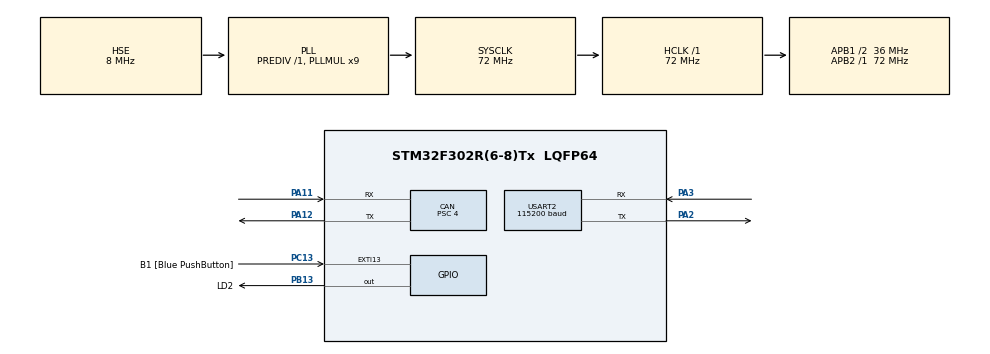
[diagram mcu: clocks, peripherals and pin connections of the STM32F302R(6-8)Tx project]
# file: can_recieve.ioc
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CAN.BS1=CAN_BS1_15TQ
CAN.BS2=CAN_BS2_2TQ
CAN.CalculateTimeQuantum=111.11111111111111
CAN.NART=DISABLE
CAN.Prescaler=4
Mcu.Family=STM32F3
Mcu.Name=STM32F302R(6-8)Tx
Mcu.Package=LQFP64
NVIC.CAN_RX1_IRQn=true\:0\:0\:false\:false\:true\:true\:true
NVIC.CAN_SCE_IRQn=true\:0\:0\:false\:false\:true\:true\:true
NVIC.PriorityGroup=NVIC_PRIORITYGROUP_0
NVIC.USB_HP_CAN_TX_IRQn=true\:0\:0\:false\:false\:true\:true\:true
NVIC.USB_LP_CAN_RX0_IRQn=true\:0\:0\:false\:false\:true\:true\:true
PA11.Mode=Master
PA11.Signal=CAN_RX
PA12.Mode=Master
PA12.Signal=CAN_TX
PA13.GPIO_Label=TMS
PA13.Mode=Serial_Wire
PA13.Signal=SYS_JTMS-SWDIO
PA14.GPIO_Label=TCK
PA14.Mode=Serial_Wire
PA14.Signal=SYS_JTCK-SWCLK
PA2.Mode=Asynchronous
PA2.Signal=USART2_TX
PA3.Mode=Asynchronous
PA3.Signal=USART2_RX
PB13.GPIO_Label=LD2
PB13.Signal=GPIO_Output
PB3.GPIO_Label=SWO
PB3.Mode=Trace_Asynchronous_SW
PB3.Signal=SYS_JTDO-TRACESWO
PC13.GPIO_Label=B1 [Blue PushButton]
PC13.GPIO_ModeDefaultEXTI=GPIO_MODE_IT_FALLING
PC13.Signal=GPXTI13
PC14\ -\ OSC32_IN.Mode=LSE-External-Oscillator
PC14\ -\ OSC32_IN.Signal=RCC_OSC32_IN
PC15\ -\ OSC32_OUT.Mode=LSE-External-Oscillator
PC15\ -\ OSC32_OUT.Signal=RCC_OSC32_OUT
PF0-OSC_IN.Mode=HSE-External-Clock-Source
PF0-OSC_IN.Signal=RCC_OSC_IN
PF1-OSC_OUT.Signal=RCC_OSC_OUT
ProjectManager.HeapSize=0x200
ProjectManager.StackSize=0x400
ProjectManager.TargetToolchain=STM32CubeIDE
RCC.AHBFreq_Value=72000000
RCC.APB1CLKDivider=RCC_HCLK_DIV2
RCC.APB1Freq_Value=36000000
RCC.APB1TimFreq_Value=72000000
RCC.APB2Freq_Value=72000000
RCC.APB2TimFreq_Value=72000000
RCC.CortexFreq_Value=72000000
RCC.HCLKFreq_Value=72000000
RCC.HSE_VALUE=8000000
RCC.HSI_VALUE=8000000
RCC.PLLM=8
RCC.PLLMUL=RCC_PLL_MUL9
RCC.PLLN=336
RCC.PLLP=RCC_PLLP_DIV4
RCC.PLLQ=7
RCC.PLLSourceVirtual=RCC_PLLSOURCE_HSE
RCC.SYSCLKFreq_VALUE=72000000
RCC.SYSCLKSourceVirtual=RCC_SYSCLKSOURCE_PLLCLK
RCC.USBFreq_Value=72000000
USART2.BaudRate=115200
USART2.VirtualMode-Asynchronous=VM_ASYNC
board=NUCLEO-F302R8

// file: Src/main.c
/* USER CODE BEGIN Header */
/**
 ******************************************************************************
 * @file           : main.c
 * @brief          : Main program body
 ******************************************************************************
 * @attention
 *
 * <h2><center>&copy; Copyright (c) 2020 STMicroelectronics.
 * All rights reserved.</center></h2>
 *
 * This software component is licensed by ST under BSD 3-Clause license,
 * the "License"; You may not use this file except in compliance with the
 * License. You may obtain a copy of the License at:
 *                        opensource.org/licenses/BSD-3-Clause
 *
 ******************************************************************************
 */
/* USER CODE END Header */

#include "main.h"
#include "can.h"
#include "usart.h"
#include "gpio.h"

/* USER CODE BEGIN Includes */
#include <stdio.h>
#include <stdlib.h>
#include <stdbool.h>
#include <string.h>
#include <math.h>

/* USER CODE END Includes */

/* USER CODE BEGIN PD */
#define isSet(val, bit_no) (((val) >> (bit_no)) & 1)
/* USER CODE END PD */

/* USER CODE BEGIN PV */
// CAN Message variables
CAN_TxHeaderTypeDef TxHeader;
CAN_RxHeaderTypeDef RxHeader;

uint8_t RxData[8];
uint32_t TxMailbox;

uint8_t result;

uint8_t heartbeat[1];
uint8_t sourceID[1];
uint8_t autonomous[1];
uint8_t messageType[1];
uint8_t extraID[1];

//uint8_t extID[4];
uint8_t header[5];
//uint8_t dataLength;
uint8_t data[8];
uint8_t TxData[8];
uint8_t RxData[8];

const bool sender = true;

// UART char buffer
char msg[140];

/* USER CODE END PV */

void SystemClock_Config(void);
/* USER CODE BEGIN PFP */
//CALL BACK
void HAL_CAN_RxFifo0MsgPendingCallback(CAN_HandleTypeDef *hcan);
//void HAL_UART_RxCpltCallback(UART_HandleTypeDef *huart);

//USART IRQ handler
void USART2_IRQHandler(void);

//Convert to actual value
double To_Decimal(uint8_t input);
/* USER CODE END PFP */

int main(void) {

	/* MCU Configuration--------------------------------------------------------*/

	/* Reset of all peripherals, Initializes the Flash interface and the Systick. */
	HAL_Init();

	/* Configure the system clock */
	SystemClock_Config();

	/* Initialize all configured peripherals */
	MX_GPIO_Init();
	MX_CAN_Init();
	MX_USART2_UART_Init();
	/* USER CODE BEGIN 2 */

	TxData[0] = 0;

	CAN_FilterTypeDef sFilterConfig;

	sFilterConfig.FilterBank = 0;
	sFilterConfig.FilterMode = CAN_FILTERMODE_IDMASK;
	sFilterConfig.FilterScale = CAN_FILTERSCALE_32BIT;
	sFilterConfig.FilterIdHigh = 0x0000;
	sFilterConfig.FilterIdLow = 0x0000;
	sFilterConfig.FilterMaskIdHigh = 0x0000;
	sFilterConfig.FilterMaskIdLow = 0x0000;
	sFilterConfig.FilterFIFOAssignment = CAN_RX_FIFO0;
	sFilterConfig.FilterActivation = ENABLE;

	if (HAL_CAN_ConfigFilter(&hcan, &sFilterConfig) != HAL_OK)
		Error_Handler();

	/* Start the CAN peripheral */
	if (HAL_CAN_Start(&hcan) != HAL_OK)
		Error_Handler();

	TxHeader.RTR = CAN_RTR_DATA;
	TxHeader.IDE = CAN_ID_EXT;
	TxHeader.TransmitGlobalTime = DISABLE;

	// Confirm startup to terminal
	/* USER CODE END 2 */

	/* Infinite loop */
	/* USER CODE BEGIN WHILE */

	while (1) {
		HAL_GPIO_TogglePin(LD2_GPIO_Port, LD2_Pin);

		HAL_UART_Receive(&huart2, (uint8_t*) header, 5, HAL_MAX_DELAY);
		TxHeader.ExtId = (header[0] << 24) + (header[1] << 16)
				+ (header[2] << 8) + (header[3]);
		TxHeader.DLC = header[4];

		if (header[4] > 0) {
			HAL_UART_Receive(&huart2, (uint8_t*) TxData, header[4],
			HAL_MAX_DELAY);
		}

		// Request transmisison
		if (HAL_CAN_AddTxMessage(&hcan, &TxHeader, TxData, &TxMailbox)
				!= HAL_OK) {
			Error_Handler();
		}

		// check for recieved CAN messages
		while (HAL_CAN_GetRxFifoFillLevel(&hcan, CAN_RX_FIFO0) > 0) {

			HAL_CAN_GetRxMessage(&hcan, CAN_RX_FIFO0, &RxHeader, RxData);
			uint8_t uart_msg[13];
			uart_msg[0] = RxHeader.ExtId;
			uart_msg[1] = RxHeader.ExtId >> 8;
			uart_msg[2] = RxHeader.ExtId >> 16;
			uart_msg[3] = RxHeader.ExtId >> 24;
			uart_msg[4] = RxHeader.DLC;
			for (int i = 0; i < RxHeader.DLC; i++) {
				uart_msg[4+i] = RxData[i];
			}

			HAL_UART_Transmit(&huart2, uart_msg, 5 + RxHeader.DLC, HAL_MAX_DELAY);

		}

		/* USER CODE END WHILE */

	}
}

void SystemClock_Config(void) {
	RCC_OscInitTypeDef RCC_OscInitStruct = { 0 };
	RCC_ClkInitTypeDef RCC_ClkInitStruct = { 0 };

	/** Initializes the CPU, AHB and APB busses clocks
	 */
	RCC_OscInitStruct.OscillatorType = RCC_OSCILLATORTYPE_HSE;
	RCC_OscInitStruct.HSEState = RCC_HSE_BYPASS;
	RCC_OscInitStruct.HSEPredivValue = RCC_HSE_PREDIV_DIV1;
	RCC_OscInitStruct.HSIState = RCC_HSI_ON;
	RCC_OscInitStruct.PLL.PLLState = RCC_PLL_ON;
	RCC_OscInitStruct.PLL.PLLSource = RCC_PLLSOURCE_HSE;
	RCC_OscInitStruct.PLL.PLLMUL = RCC_PLL_MUL9;
	if (HAL_RCC_OscConfig(&RCC_OscInitStruct) != HAL_OK) {
		Error_Handler();
	}
	/** Initializes the CPU, AHB and APB busses clocks
	 */
	RCC_ClkInitStruct.ClockType = RCC_CLOCKTYPE_HCLK | RCC_CLOCKTYPE_SYSCLK
			| RCC_CLOCKTYPE_PCLK1 | RCC_CLOCKTYPE_PCLK2;
	RCC_ClkInitStruct.SYSCLKSource = RCC_SYSCLKSOURCE_PLLCLK;
	RCC_ClkInitStruct.AHBCLKDivider = RCC_SYSCLK_DIV1;
	RCC_ClkInitStruct.APB1CLKDivider = RCC_HCLK_DIV2;
	RCC_ClkInitStruct.APB2CLKDivider = RCC_HCLK_DIV1;

	if (HAL_RCC_ClockConfig(&RCC_ClkInitStruct, FLASH_LATENCY_2) != HAL_OK) {
		Error_Handler();
	}
}

/* USER CODE BEGIN 4 */

// Override weak-ass function from stm32l4xx_hal_can.c
/**
 * @brief System Clock Configuration
 * @retval None
 */
/* USER CODE END 4 */

void Error_Handler(void) {
	/* USER CODE BEGIN Error_Handler_Debug */
	/* User can add his own implementation to report the HAL error return state */

	uint32_t error = HAL_CAN_GetError(&hcan);

	snprintf(msg, sizeof(msg) - 1, "error: %ld\r\n", error);
//	HAL_UART_Transmit(&huart2, (uint8_t*) msg, strlen(msg), HAL_MAX_DELAY);

	/* USER CODE END Error_Handler_Debug */
}

/************************ (C) COPYRIGHT STMicroelectronics *****END OF FILE****/
